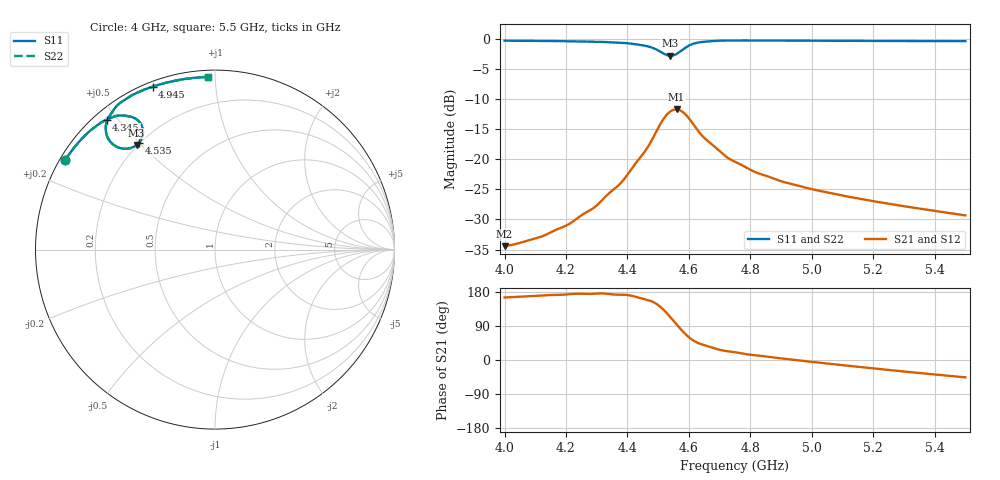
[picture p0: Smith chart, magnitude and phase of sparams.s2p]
! NobuRF pozar-6.3-halfwave-resonator: ports 1 "p1", 2 "p2"; 38400 + 38400 steps
# GHz S RI R 50
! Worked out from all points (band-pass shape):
!   301 points, 4 GHz to 5.5 GHz, reference 50 ohm
!   highest |S21| = -11.68 dB at 4.56 GHz (marker M1); lowest = -34.4 dB at 4 GHz (marker M2)
!   |S21| within 3 dB of the highest: 4.501 GHz to 4.622 GHz (120.8 MHz wide, 2.65 % of centre)
!   lowest |S11| = -2.8 dB at 4.54 GHz (marker M3), VSWR 6.36, Z = 9.76 + j24.2 ohm
!   |S11| at or under -10 dB: nowhere
!   |S22| runs from -2.8 to -0.2 dB; largest |S21 - S12| = 1e-08
!   S11 on the Smith chart (normalised r, x): 4 GHz: 0.02, +0.28; 4.345 GHz: 0.04, +0.47; 4.535 GHz: 0.20, +0.50; 4.945 GHz: 0.02, +0.69; 5.5 GHz: 0.04, +0.96
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4  -0.8331 0.5009  -0.0183 0.00495  -0.0183 0.00495  -0.8331 0.5009
4.125  -0.7639 0.5936  -0.0227 0.00389  -0.0227 0.00389  -0.7639 0.5936
4.205  -0.713 0.6465  -0.0283 0.00332  -0.0283 0.00332  -0.713 0.6465
4.25  -0.6807 0.6738  -0.0341 0.00321  -0.0341 0.00321  -0.6807 0.6738
4.295  -0.6475 0.6992  -0.0403 0.00341  -0.0403 0.00341  -0.6475 0.6993
4.345  -0.6037 0.7233  -0.0533 0.00595  -0.0533 0.00595  -0.6037 0.7233
4.385  -0.5662 0.7401  -0.0659 0.00898  -0.0659 0.00898  -0.5662 0.7401
4.455  -0.4795 0.7426  -0.1083 0.0382  -0.1083 0.0382  -0.4795 0.7426
4.5  -0.4098 0.6941  -0.1494 0.1052  -0.1494 0.1052  -0.4098 0.6941
4.52  -0.4025 0.6381  -0.144 0.1689  -0.144 0.1689  -0.4025 0.6381
4.535  -0.4243 0.5946  -0.1126 0.218  -0.1126 0.218  -0.4243 0.5946
4.54  -0.4369 0.5827  -0.0968 0.2316  -0.0968 0.2316  -0.4369 0.5827
4.56  -0.5042 0.5615  -0.0167 0.26  -0.0167 0.26  -0.5042 0.5615
4.585  -0.5828 0.6007  0.0778 0.2292  0.0778 0.2292  -0.5828 0.6007
4.61  -0.6092 0.6742  0.1201 0.1638  0.1201 0.1638  -0.6092 0.6742
4.655  -0.5766 0.7612  0.116 0.0902  0.116 0.0902  -0.5766 0.7612
4.75  -0.491 0.8416  0.0894 0.0335  0.0894 0.0335  -0.491 0.8416
4.82  -0.435 0.8728  0.0759 0.0163  0.0759 0.0163  -0.435 0.8728
4.945  -0.3482 0.9077  0.0615 0.000182  0.0615 0.000182  -0.3482 0.9077
5  -0.3126 0.9189  0.0563 -0.00476  0.0563 -0.00476  -0.3126 0.9189
5.25  -0.1672 0.9505  0.0384 -0.019  0.0384 -0.019  -0.1672 0.9505
5.5  -0.0379 0.9625  0.0239 -0.0245  0.0239 -0.0245  -0.0379 0.9625
